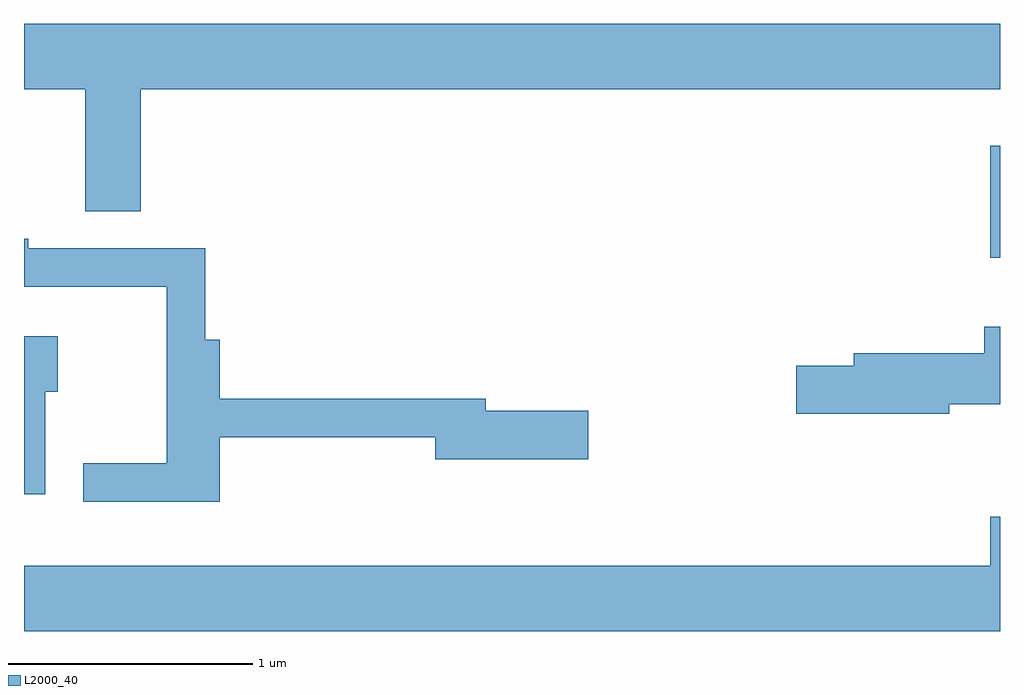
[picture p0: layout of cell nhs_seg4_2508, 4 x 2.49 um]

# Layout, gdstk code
import gdstk
lib = gdstk.Library(unit=1e-6, precision=1e-09)
def R(c, l, rs):  # rectangles x0, y0, x1, y1
    for r in rs: c.add(gdstk.rectangle(r[:2], r[2:], *l))
def P(c, l, *ps):  # polygons
    for p in ps: c.add(gdstk.Polygon(p, *l))
L2000_40 = (2000, 40)

nhs_seg4_2508 = lib.new_cell('nhs_seg4_2508')
R(nhs_seg4_2508, L2000_40, [(261.571,1376.186,261.611,1376.644)])
P(nhs_seg4_2508, L2000_40, [(258.089,1376.876),(261.611,1376.876),(261.611,1377.144),(257.611,1377.144),(257.611,1376.876),(257.861,1376.876),(257.861,1376.376),(258.089,1376.376)],
  [(258.414,1375.451),(259.296,1375.451),(259.296,1375.361),(259.924,1375.361),(259.924,1375.559),(259.504,1375.559),(259.504,1375.609),(258.414,1375.609),(258.414,1375.849),(258.354,1375.849),(258.354,1376.224),(257.629,1376.224),(257.629,1376.264),(257.611,1376.264),(257.611,1376.066),(258.196,1376.066),(258.196,1375.344),(257.853,1375.344),(257.853,1375.186),(258.414,1375.186)],
  [(261.404,1375.586),(261.611,1375.586),(261.611,1375.904),(261.546,1375.904),(261.546,1375.794),(261.011,1375.794),(261.011,1375.744),(260.776,1375.744),(260.776,1375.546),(261.404,1375.546)],
  [(257.699,1375.636),(257.749,1375.636),(257.749,1375.864),(257.611,1375.864),(257.611,1375.216),(257.699,1375.216)],
  [(261.611,1375.124),(261.571,1375.124),(261.571,1374.924),(257.611,1374.924),(257.611,1374.656),(261.611,1374.656)])

lib.write_gds('nhs_seg4_2508.gds')
